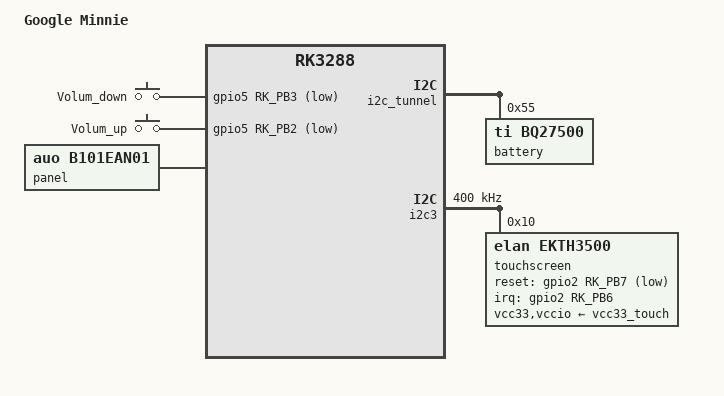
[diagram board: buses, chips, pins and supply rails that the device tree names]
// SPDX-License-Identifier: (GPL-2.0+ OR MIT)
/*
 * Google Veyron Minnie Rev 0+ board device tree source
 *
 * Copyright 2015 Google, Inc
 */

/dts-v1/;
#include "rk3288-veyron-chromebook.dtsi"
#include "rk3288-veyron-broadcom-bluetooth.dtsi"

/ {
	model = "Google Minnie";
	compatible = "google,veyron-minnie-rev4", "google,veyron-minnie-rev3",
		     "google,veyron-minnie-rev2", "google,veyron-minnie-rev1",
		     "google,veyron-minnie-rev0", "google,veyron-minnie",
		     "google,veyron", "rockchip,rk3288";

	volume_buttons: volume-buttons {
		compatible = "gpio-keys";
		pinctrl-names = "default";
		pinctrl-0 = <&volum_down_l &volum_up_l>;

		volum_down {
			label = "Volum_down";
			gpios = <&gpio5 RK_PB3 GPIO_ACTIVE_LOW>;
			linux,code = <KEY_VOLUMEDOWN>;
			debounce-interval = <100>;
		};

		volum_up {
			label = "Volum_up";
			gpios = <&gpio5 RK_PB2 GPIO_ACTIVE_LOW>;
			linux,code = <KEY_VOLUMEUP>;
			debounce-interval = <100>;
		};
	};
};

&backlight {
	/* Minnie panel PWM must be >= 1%, so start non-zero brightness at 3 */
	brightness-levels = <0 3 255>;
	num-interpolated-steps = <252>;
};

&i2c_tunnel {
	battery: bq27500@55 {
		compatible = "ti,bq27500";
		reg = <0x55>;
	};
};

&i2c3 {
	status = "okay";

	clock-frequency = <400000>;
	i2c-scl-falling-time-ns = <50>;
	i2c-scl-rising-time-ns = <300>;

	touchscreen@10 {
		compatible = "elan,ekth3500";
		reg = <0x10>;
		interrupt-parent = <&gpio2>;
		interrupts = <RK_PB6 IRQ_TYPE_EDGE_FALLING>;
		pinctrl-names = "default";
		pinctrl-0 = <&touch_int &touch_rst>;
		reset-gpios = <&gpio2 RK_PB7 GPIO_ACTIVE_LOW>;
		vcc33-supply = <&vcc33_touch>;
		vccio-supply = <&vcc33_touch>;
	};
};

&panel {
	compatible = "auo,b101ean01";

	/delete-node/ panel-timing;

	panel-timing {
		clock-frequency = <66666667>;
		hactive = <1280>;
		hfront-porch = <18>;
		hback-porch = <21>;
		hsync-len = <32>;
		vactive = <800>;
		vfront-porch = <4>;
		vback-porch = <8>;
		vsync-len = <18>;
	};
};

&rk808 {
	pinctrl-names = "default";
	pinctrl-0 = <&pmic_int_l &dvs_1 &dvs_2>;

	regulators {
		vcc33_touch: LDO_REG2 {
			regulator-min-microvolt = <3300000>;
			regulator-max-microvolt = <3300000>;
			regulator-name = "vcc33_touch";
			regulator-state-mem {
				regulator-off-in-suspend;
			};
		};

		vcc5v_touch: SWITCH_REG2 {
			regulator-name = "vcc5v_touch";
			regulator-state-mem {
				regulator-off-in-suspend;
			};
		};
	};
};

&sdmmc {
	disable-wp;
	pinctrl-names = "default";
	pinctrl-0 = <&sdmmc_clk &sdmmc_cmd &sdmmc_cd_disabled &sdmmc_cd_pin
			&sdmmc_bus4>;
};

&vcc_5v {
	enable-active-high;
	gpio = <&gpio7 RK_PC5 GPIO_ACTIVE_HIGH>;
	pinctrl-names = "default";
	pinctrl-0 = <&drv_5v>;
};

&vcc50_hdmi {
	enable-active-high;
	gpio = <&gpio5 RK_PC3 GPIO_ACTIVE_HIGH>;
	pinctrl-names = "default";
	pinctrl-0 = <&vcc50_hdmi_en>;
};

&gpio0 {
	gpio-line-names = "PMIC_SLEEP_AP",
			  "DDRIO_PWROFF",
			  "DDRIO_RETEN",
			  "TS3A227E_INT_L",
			  "PMIC_INT_L",
			  "PWR_KEY_L",
			  "AP_LID_INT_L",
			  "EC_IN_RW",

			  "AC_PRESENT_AP",
			  /*
			   * RECOVERY_SW_L is Chrome OS ABI.  Schematics call
			   * it REC_MODE_L.
			   */
			  "RECOVERY_SW_L",
			  "OTP_OUT",
			  "HOST1_PWR_EN",
			  "USBOTG_PWREN_H",
			  "AP_WARM_RESET_H",
			  "nFALUT2",
			  "I2C0_SDA_PMIC",

			  "I2C0_SCL_PMIC",
			  "SUSPEND_L",
			  "USB_INT";
};

&gpio2 {
	gpio-line-names = "CONFIG0",
			  "CONFIG1",
			  "CONFIG2",
			  "",
			  "",
			  "",
			  "",
			  "CONFIG3",

			  "PROCHOT#",
			  "EMMC_RST_L",
			  "",
			  "",
			  "BL_PWR_EN",
			  "AVDD_1V8_DISP_EN",
			  "TOUCH_INT",
			  "TOUCH_RST",

			  "I2C3_SCL_TP",
			  "I2C3_SDA_TP";
};

&gpio3 {
	gpio-line-names = "FLASH0_D0",
			  "FLASH0_D1",
			  "FLASH0_D2",
			  "FLASH0_D3",
			  "FLASH0_D4",
			  "FLASH0_D5",
			  "FLASH0_D6",
			  "FLASH0_D7",

			  "",
			  "",
			  "",
			  "",
			  "",
			  "",
			  "",
			  "",

			  "FLASH0_CS2/EMMC_CMD",
			  "",
			  "FLASH0_DQS/EMMC_CLKO";
};

&gpio4 {
	gpio-line-names = "",
			  "",
			  "",
			  "",
			  "",
			  "",
			  "",
			  "",

			  "",
			  "",
			  "",
			  "",
			  "",
			  "",
			  "",
			  "",

			  "UART0_RXD",
			  "UART0_TXD",
			  "UART0_CTS",
			  "UART0_RTS",
			  "SDIO0_D0",
			  "SDIO0_D1",
			  "SDIO0_D2",
			  "SDIO0_D3",

			  "SDIO0_CMD",
			  "SDIO0_CLK",
			  "dev_wake",
			  "",
			  "WIFI_ENABLE_H",
			  "BT_ENABLE_L",
			  "WIFI_HOST_WAKE",
			  "BT_HOST_WAKE";
};

&gpio5 {
	gpio-line-names = "",
			  "",
			  "",
			  "",
			  "",
			  "",
			  "",
			  "",

			  "",
			  "",
			  "Volum_Up#",
			  "Volum_Down#",
			  "SPI0_CLK",
			  "SPI0_CS0",
			  "SPI0_TXD",
			  "SPI0_RXD",

			  "",
			  "",
			  "",
			  "VCC50_HDMI_EN";
};

&gpio6 {
	gpio-line-names = "I2S0_SCLK",
			  "I2S0_LRCK_RX",
			  "I2S0_LRCK_TX",
			  "I2S0_SDI",
			  "I2S0_SDO0",
			  "HP_DET_H",
			  "",
			  "INT_CODEC",

			  "I2S0_CLK",
			  "I2C2_SDA",
			  "I2C2_SCL",
			  "MICDET",
			  "",
			  "",
			  "",
			  "",

			  "SDMMC_D0",
			  "SDMMC_D1",
			  "SDMMC_D2",
			  "SDMMC_D3",
			  "SDMMC_CLK",
			  "SDMMC_CMD";
};

&gpio7 {
	gpio-line-names = "LCDC_BL",
			  "PWM_LOG",
			  "BL_EN",
			  "TRACKPAD_INT",
			  "TPM_INT_H",
			  "SDMMC_DET_L",
			  /*
			   * AP_FLASH_WP_L is Chrome OS ABI.  Schematics call
			   * it FW_WP_AP.
			   */
			  "AP_FLASH_WP_L",
			  "EC_INT",

			  "CPU_NMI",
			  "DVS_OK",
			  "SDMMC_WP",
			  "EDP_HPD",
			  "DVS1",
			  "nFALUT1",
			  "LCD_EN",
			  "DVS2",

			  "VCC5V_GOOD_H",
			  "I2C4_SDA_TP",
			  "I2C4_SCL_TP",
			  "I2C5_SDA_HDMI",
			  "I2C5_SCL_HDMI",
			  "5V_DRV",
			  "UART2_RXD",
			  "UART2_TXD";
};

&gpio8 {
	gpio-line-names = "RAM_ID0",
			  "RAM_ID1",
			  "RAM_ID2",
			  "RAM_ID3",
			  "I2C1_SDA_TPM",
			  "I2C1_SCL_TPM",
			  "SPI2_CLK",
			  "SPI2_CS0",

			  "SPI2_RXD",
			  "SPI2_TXD";
};

&pinctrl {
	pinctrl-names = "default", "sleep";
	pinctrl-0 = <
		/* Common for sleep and wake, but no owners */
		&ddr0_retention
		&ddrio_pwroff
		&global_pwroff

		/* Wake only */
		&suspend_l_wake
	>;
	pinctrl-1 = <
		/* Common for sleep and wake, but no owners */
		&ddr0_retention
		&ddrio_pwroff
		&global_pwroff

		/* Sleep only */
		&suspend_l_sleep
	>;

	buck-5v {
		drv_5v: drv-5v {
			rockchip,pins = <7 RK_PC5 RK_FUNC_GPIO &pcfg_pull_none>;
		};
	};

	buttons {
		volum_down_l: volum-down-l {
			rockchip,pins = <5 RK_PB3 RK_FUNC_GPIO &pcfg_pull_up>;
		};

		volum_up_l: volum-up-l {
			rockchip,pins = <5 RK_PB2 RK_FUNC_GPIO &pcfg_pull_up>;
		};
	};

	hdmi {
		vcc50_hdmi_en: vcc50-hdmi-en {
			rockchip,pins = <5 RK_PC3 RK_FUNC_GPIO &pcfg_pull_none>;
		};
	};

	pmic {
		dvs_1: dvs-1 {
			rockchip,pins = <7 RK_PB4 RK_FUNC_GPIO &pcfg_pull_down>;
		};

		dvs_2: dvs-2 {
			rockchip,pins = <7 RK_PB7 RK_FUNC_GPIO &pcfg_pull_down>;
		};
	};

	prochot {
		gpio_prochot: gpio-prochot {
			rockchip,pins = <2 RK_PB0 RK_FUNC_GPIO &pcfg_pull_none>;
		};
	};

	touchscreen {
		touch_int: touch-int {
			rockchip,pins = <2 RK_PB6 RK_FUNC_GPIO &pcfg_pull_none>;
		};

		touch_rst: touch-rst {
			rockchip,pins = <2 RK_PB7 RK_FUNC_GPIO &pcfg_pull_none>;
		};
	};
};
